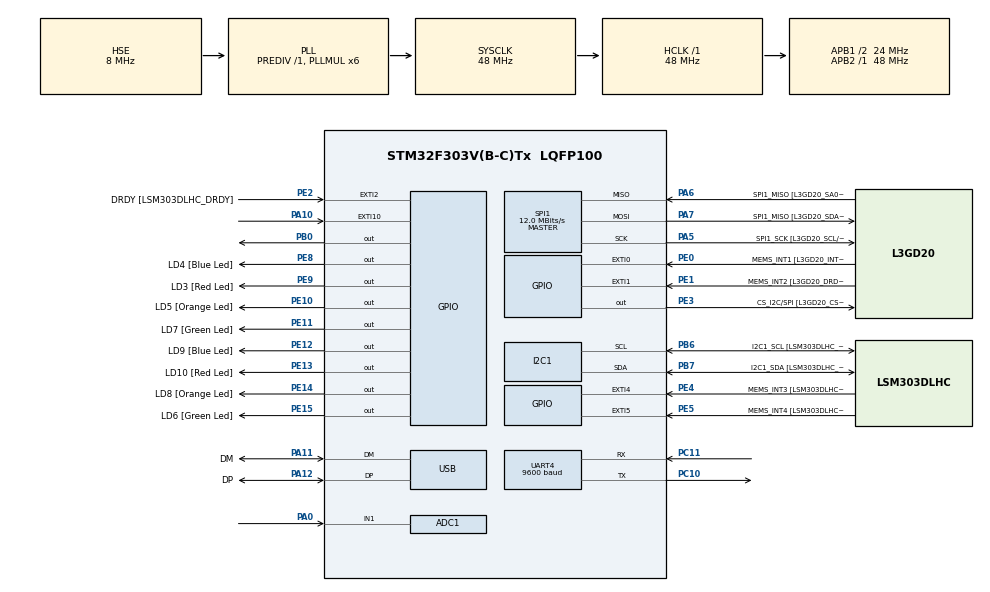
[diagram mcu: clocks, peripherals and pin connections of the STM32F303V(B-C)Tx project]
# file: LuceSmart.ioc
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ADC1.Channel-0\#ChannelRegularConversion=ADC_CHANNEL_1
ADC1.ExternalTrigConv=ADC_EXTERNALTRIGCONV_T4_TRGO
ADC1.NbrOfConversionFlag=1
ADC1.Offset-0\#ChannelRegularConversion=0
ADC1.OffsetNumber-0\#ChannelRegularConversion=ADC_OFFSET_NONE
ADC1.Rank-0\#ChannelRegularConversion=1
ADC1.SamplingTime-0\#ChannelRegularConversion=ADC_SAMPLETIME_1CYCLE_5
ADC1.SamplingTimeOPAMP-0\#ChannelRegularConversion=ADC_SAMPLETIME_19CYCLES_5
ADC1.master=1
I2C1.Timing-I2C=0x2000090E
Mcu.Family=STM32F3
Mcu.Name=STM32F303V(B-C)Tx
Mcu.Package=LQFP100
NVIC.ADC1_2_IRQn=true\:0\:0\:false\:false\:true\:true\:true\:true
NVIC.EXTI15_10_IRQn=true\:1\:0\:true\:false\:true\:true\:true\:true
NVIC.PriorityGroup=NVIC_PRIORITYGROUP_1
NVIC.TIM3_IRQn=true\:0\:0\:false\:false\:true\:true\:true\:true
NVIC.TIM4_IRQn=true\:0\:0\:false\:false\:true\:true\:true\:true
NVIC.UART4_IRQn=true\:0\:0\:false\:false\:true\:true\:true\:true
PA0.Mode=IN1-Single-Ended
PA0.Signal=ADC1_IN1
PA10.GPIO_ModeDefaultEXTI=GPIO_MODE_IT_FALLING
PA10.Signal=GPXTI10
PA11.GPIO_Label=DM
PA11.Mode=Device
PA11.Signal=USB_DM
PA12.GPIO_Label=DP
PA12.Mode=Device
PA12.Signal=USB_DP
PA13.GPIO_Label=SWDIO
PA13.Mode=Serial_Wire
PA13.Signal=SYS_JTMS-SWDIO
PA14.GPIO_Label=SWCLK
PA14.Mode=Serial_Wire
PA14.Signal=SYS_JTCK-SWCLK
PA5.GPIO_Label=SPI1_SCK [L3GD20_SCL/SPC]
PA5.Mode=Full_Duplex_Master
PA5.Signal=SPI1_SCK
PA6.GPIO_Label=SPI1_MISO [L3GD20_SA0/SDO]
PA6.Mode=Full_Duplex_Master
PA6.Signal=SPI1_MISO
PA7.GPIO_Label=SPI1_MISO [L3GD20_SDA/SDI/SDO]
PA7.Mode=Full_Duplex_Master
PA7.Signal=SPI1_MOSI
PB0.Signal=GPIO_Output
PB3.GPIO_Label=SWO
PB3.Signal=SYS_JTDO-TRACESWO
PB6.GPIO_Label=I2C1_SCL [LSM303DLHC_SCL]
PB6.GPIO_Pu=GPIO_PULLUP
PB6.Mode=I2C
PB6.Signal=I2C1_SCL
PB7.GPIO_Label=I2C1_SDA [LSM303DLHC_SDA]
PB7.GPIO_Pu=GPIO_PULLUP
PB7.Mode=I2C
PB7.Signal=I2C1_SDA
PC10.Mode=Asynchronous
PC10.Signal=UART4_TX
PC11.Mode=Asynchronous
PC11.Signal=UART4_RX
PC14-OSC32_IN.GPIO_Label=OSC32_IN
PC14-OSC32_IN.Signal=RCC_OSC32_IN
PC15-OSC32_OUT.GPIO_Label=OSC32_OUT
PC15-OSC32_OUT.Signal=RCC_OSC32_OUT
PE0.GPIO_Label=MEMS_INT1 [L3GD20_INT1]
PE0.GPIO_ModeDefaultEXTI=GPIO_MODE_EVT_RISING
PE0.Signal=GPXTI0
PE1.GPIO_Label=MEMS_INT2 [L3GD20_DRDY/INT2]
PE1.GPIO_ModeDefaultEXTI=GPIO_MODE_EVT_RISING
PE1.Signal=GPXTI1
PE10.GPIO_Label=LD5 [Orange Led]
PE10.Signal=GPIO_Output
PE11.GPIO_Label=LD7 [Green Led]
PE11.Signal=GPIO_Output
PE12.GPIO_Label=LD9 [Blue Led]
PE12.Signal=GPIO_Output
PE13.GPIO_Label=LD10 [Red Led]
PE13.Signal=GPIO_Output
PE14.GPIO_Label=LD8 [Orange Led]
PE14.Signal=GPIO_Output
PE15.GPIO_Label=LD6 [Green Led]
PE15.Signal=GPIO_Output
PE2.GPIO_Label=DRDY [LSM303DLHC_DRDY]
PE2.GPIO_ModeDefaultEXTI=GPIO_MODE_EVT_RISING
PE2.Signal=GPXTI2
PE3.GPIO_Label=CS_I2C/SPI [L3GD20_CS_I2C/SPI]
PE3.Signal=GPIO_Output
PE4.GPIO_Label=MEMS_INT3 [LSM303DLHC_INT1]
PE4.GPIO_ModeDefaultEXTI=GPIO_MODE_EVT_RISING
PE4.Signal=GPXTI4
PE5.GPIO_Label=MEMS_INT4 [LSM303DLHC_INT2]
PE5.GPIO_ModeDefaultEXTI=GPIO_MODE_EVT_RISING
PE5.Signal=GPXTI5
PE8.GPIO_Label=LD4 [Blue Led]
PE8.Signal=GPIO_Output
PE9.GPIO_Label=LD3 [Red Led]
PE9.Signal=GPIO_Output
PF0-OSC_IN.GPIO_Label=OSC_IN
PF0-OSC_IN.Mode=HSE-External-Clock-Source
PF0-OSC_IN.Signal=RCC_OSC_IN
PF1-OSC_OUT.GPIO_Label=OSC_OUT
PF1-OSC_OUT.Signal=RCC_OSC_OUT
ProjectManager.HeapSize=0x200
ProjectManager.StackSize=0x400
ProjectManager.TargetToolchain=STM32CubeIDE
RCC.AHBFreq_Value=48000000
RCC.APB1CLKDivider=RCC_HCLK_DIV2
RCC.APB1Freq_Value=24000000
RCC.APB1TimFreq_Value=48000000
RCC.APB2Freq_Value=48000000
RCC.APB2TimFreq_Value=48000000
RCC.CortexFreq_Value=48000000
RCC.HCLKFreq_Value=48000000
RCC.HSE_VALUE=8000000
RCC.HSI_VALUE=8000000
RCC.LSE_VALUE=32768
RCC.PLLMUL=RCC_PLL_MUL6
RCC.SYSCLKFreq_VALUE=48000000
RCC.SYSCLKSourceVirtual=RCC_SYSCLKSOURCE_PLLCLK
RCC.USBFreq_Value=48000000
SPI1.BaudRatePrescaler=SPI_BAUDRATEPRESCALER_4
SPI1.BaudRatePrescaler-Full_Duplex_Master=SPI_BAUDRATEPRESCALER_2
SPI1.CalculateBaudRate=12.0 MBits/s
SPI1.CalculateBaudRate-Full_Duplex_Master=24.0 MBits/s
SPI1.Direction=SPI_DIRECTION_2LINES
SPI1.Mode=SPI_MODE_MASTER
SPI1.Mode-Full_Duplex_Master=SPI_MODE_MASTER
SPI1.VirtualType=VM_MASTER
TIM2.Prescaler=47
TIM3.CounterMode=TIM_COUNTERMODE_UP
TIM3.Period=1000
TIM3.Prescaler=48000-1
TIM3.TIM_MasterOutputTrigger=TIM_TRGO_RESET
TIM4.Period=2000
TIM4.Prescaler=48000-1
TIM4.TIM_MasterOutputTrigger=TIM_TRGO_UPDATE
UART4.BaudRate=9600
UART4.Mode=MODE_RX
UART4.WordLength=WORDLENGTH_8B
VP_TIM2_VS_ClockSourceINT.Mode=Internal
VP_TIM3_VS_ClockSourceINT.Mode=Internal
VP_TIM4_VS_ClockSourceINT.Mode=Internal
board=STM32F3DISCOVERY

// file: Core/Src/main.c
/* USER CODE BEGIN Header */
/**
  **************************
  * @file           : main.c
  * @brief          : Main program body
  **************************
  * @attention
  *
  * Copyright (c) 2022 STMicroelectronics.
  * All rights reserved.
  *
  * This software is licensed under terms that can be found in the LICENSE file
  * in the root directory of this software component.
  * If no LICENSE file comes with this software, it is provided AS-IS.
  *
  **************************
  */
/* USER CODE END Header */
#include "main.h"

/* USER CODE BEGIN PD */
#define BUFFER_LEN 1
uint8_t RX_BUFFER[BUFFER_LEN] = {0};
/* USER CODE END PD */

 ADC_HandleTypeDef hadc1;

I2C_HandleTypeDef hi2c1;

SPI_HandleTypeDef hspi1;

TIM_HandleTypeDef htim2;
TIM_HandleTypeDef htim3;
TIM_HandleTypeDef htim4;

UART_HandleTypeDef huart4;

PCD_HandleTypeDef hpcd_USB_FS;

void SystemClock_Config(void);
static void MX_GPIO_Init(void);
static void MX_I2C1_Init(void);
static void MX_SPI1_Init(void);
static void MX_USB_PCD_Init(void);
static void MX_TIM2_Init(void);
static void MX_TIM3_Init(void);
static void MX_ADC1_Init(void);
static void MX_TIM4_Init(void);
static void MX_UART4_Init(void);

/* USER CODE BEGIN 0 */
void delay_us(uint16_t us){
	__HAL_TIM_SET_COUNTER(&htim2,0);
	while(__HAL_TIM_GET_COUNTER(&htim2)<=us);
}

int stato = 0;
int config = 0;
int countdown = 0;

void spegni_luce(){
	HAL_GPIO_WritePin(GPIOB, GPIO_PIN_0, GPIO_PIN_RESET);
}

void accendi_luce(){
	HAL_GPIO_WritePin(GPIOB, GPIO_PIN_0, GPIO_PIN_SET);
}

void toggle_luce(){
	HAL_GPIO_TogglePin(GPIOB, GPIO_PIN_0);
}

void gestisci_tasto(int tasto){
	if(stato == 0){
		if(tasto == 0){
			toggle_luce();
		}
		else if(tasto == 1){
			HAL_GPIO_WritePin(GPIOE,GPIO_PIN_10,GPIO_PIN_RESET);
			HAL_GPIO_WritePin(GPIOE,GPIO_PIN_11,GPIO_PIN_SET);

			spegni_luce();
			HAL_TIM_Base_Start_IT(&htim4);
			stato = 1;
		}
	}
	else if(stato == 1){
		if(tasto == 1){
			HAL_GPIO_WritePin(GPIOE,GPIO_PIN_11,GPIO_PIN_RESET);
			HAL_GPIO_WritePin(GPIOE,GPIO_PIN_12,GPIO_PIN_SET);

			HAL_TIM_Base_Stop_IT(&htim4);
			spegni_luce();
			config = 1;
			countdown = 0;
			stato = 2;
		}
	}
	else if(stato == 2){
		if(tasto == 1){
			HAL_GPIO_WritePin(GPIOE,GPIO_PIN_12,GPIO_PIN_RESET);
			HAL_GPIO_WritePin(GPIOE,GPIO_PIN_10,GPIO_PIN_SET);

			spegni_luce();
			HAL_TIM_Base_Stop_IT(&htim3);
			stato = 0;
		}
		else if(config == 1){ // deve essere configurato il timer
			if(tasto == 9){
				config = 0;
				countdown--;
				accendi_luce();
				__HAL_TIM_SET_COUNTER(&htim3,0);
				HAL_TIM_Base_Start_IT(&htim3);
			}
			else if(tasto >= 11 && tasto <= 20){ //pressione di un numero
				tasto = tasto - 11;
				countdown = countdown*10 + tasto;
			}
		}
	}
}

uint32_t receive_data_ir (void){
	  uint32_t code=0;
	  while (HAL_GPIO_ReadPin (GPIOA, GPIO_PIN_10));
	  while (!(HAL_GPIO_ReadPin (GPIOA, GPIO_PIN_10)));
	  while (HAL_GPIO_ReadPin (GPIOA, GPIO_PIN_10));

	  for (int i=0; i<32; i++){
		  uint8_t count=0;
		  while (!(HAL_GPIO_ReadPin (GPIOA, GPIO_PIN_10)));
		  while ((HAL_GPIO_ReadPin (GPIOA, GPIO_PIN_10))){
			  count++;
			  delay_us(100);
		  }
		  if (count > 12) code |= (1UL << (31-i));
		  else code &= ~(1UL << (31-i));
	  }
	  HAL_Delay(200);
	  return code;
}

int convert_data_ir(uint32_t data){
	switch(data) {
		case 0xFFA25D: return 0; break; // power
		case 0xFFE21D: return 1; break; //func/stop
		case 0xFF629D: return 2; break; //vol+
		case 0xFF22DD: return 3; break; //fast back
		case 0xFF02FD: return 4; break; //pause
		case 0xFFC23D: return 5; break; //fast forward
		case 0xFFE01F: return 6; break; //down
		case 0xFFA857: return 7; break; //vol-
		case 0xFF906F: return 8; break; //up
		case 0xFF9867: return 9; break; // eq
		case 0xFFB04F: return 10; break; //st/rept
		case 0xFF6897: return 11; break; //0
		case 0xFF30CF: return 12; break; //1
		case 0xFF18E7: return 13; break; //2
		case 0xFF7A85: return 14; break; //3
		case 0xFF10EF: return 15; break; // 4
		case 0xFF38C7: return 16; break; //5
		case 0xFF5AA5: return 17; break; //6
		case 0xFF42BD: return 18; break; //7
		case 0xFF4AB5: return 19; break; // 8
		case 0xFF52AD: return 20; break; //9
		case 0xFFFFFFFF: return 21;break; //repeat
		default:  return -1; //err
	}
}

void HAL_GPIO_EXTI_Callback(uint16_t GPIO_Pin){
	if(GPIO_Pin == GPIO_PIN_10){
		uint32_t data = receive_data_ir();
		int tasto_premuto = convert_data_ir(data);
		gestisci_tasto(tasto_premuto);
	}
}

uint8_t recive_data_bt(){
	HAL_UART_Receive_IT(&huart4, RX_BUFFER, BUFFER_LEN);
	return RX_BUFFER[0];
}

int convert_data_bt(uint8_t data){
	switch(data) {
		case 0x00: return 0; break; // power
		case 0x01: return 1; break; //func/stop
		case 0x02: return 2; break; //vol+
		case 0x03: return 3; break; //fast back
		case 0x04: return 4; break; //pause
		case 0x05: return 5; break; //fast forward
		case 0x06: return 6; break; //down
		case 0x07: return 7; break; //vol-
		case 0x08: return 8; break; //up
		case 0x09: return 9; break; // eq
		case 0x0A: return 10; break; //st/rept
		case 0x0B: return 11; break; //0
		case 0x0C: return 12; break; //1
		case 0x0D: return 13; break; //2
		case 0x0E: return 14; break; //3
		case 0x0F: return 15; break; // 4
		case 0x10: return 16; break; //5
		case 0x11: return 17; break; //6
		case 0x12: return 18; break; //7
		case 0x13: return 19; break; // 8
		case 0x14: return 20; break; //9
		case 0xFF: return 21;break; //repeat
		default:  return -1; //err
	}
}

void HAL_ADC_ConvCpltCallback(ADC_HandleTypeDef* hadc) {
  if(stato == 1){
	  uint16_t adc_val = HAL_ADC_GetValue(&hadc1);
	  if(adc_val >= 2000) accendi_luce();
  	  else spegni_luce();
  }
}

void HAL_UART_RxCpltCallback(UART_HandleTypeDef* huart){
	if(huart->Instance == huart4.Instance){
		uint8_t data = recive_data_bt();
		int tasto_premuto = convert_data_bt(data);
		gestisci_tasto(tasto_premuto);
	}
}

void HAL_TIM_PeriodElapsedCallback(TIM_HandleTypeDef *htim){
	if(htim == &htim3){
		if(countdown == 0){
			if(stato == 2){
				spegni_luce();
				config = 1;
			}
			HAL_TIM_Base_Stop_IT(&htim3);
		}
		else
			countdown--;
	}
}

/* USER CODE END 0 */

int main(void)
{

  /* MCU Configuration--------------------------------------------------------*/

  /* Reset of all peripherals, Initializes the Flash interface and the Systick. */
  HAL_Init();

  /* Configure the system clock */
  SystemClock_Config();

  /* Initialize all configured peripherals */
  MX_GPIO_Init();
  MX_I2C1_Init();
  MX_SPI1_Init();
  MX_USB_PCD_Init();
  MX_TIM2_Init();
  MX_TIM3_Init();
  MX_ADC1_Init();
  MX_TIM4_Init();
  MX_UART4_Init();
  /* USER CODE BEGIN 2 */
  HAL_TIM_Base_Init(&htim2);
  HAL_TIM_Base_Start(&htim2);

  HAL_ADCEx_Calibration_Start(&hadc1, 0);
  HAL_ADC_Start_IT (&hadc1);

  HAL_UART_Receive_IT(&huart4, RX_BUFFER, BUFFER_LEN);
  HAL_GPIO_WritePin(GPIOE, GPIO_PIN_10, GPIO_PIN_SET);

  /* USER CODE END 2 */

  /* Infinite loop */
  while (1)
  {

  }
}

void SystemClock_Config(void)
{
  RCC_OscInitTypeDef RCC_OscInitStruct = {0};
  RCC_ClkInitTypeDef RCC_ClkInitStruct = {0};
  RCC_PeriphCLKInitTypeDef PeriphClkInit = {0};

  /** Initializes the RCC Oscillators according to the specified parameters
  * in the RCC_OscInitTypeDef structure.
  */
  RCC_OscInitStruct.OscillatorType = RCC_OSCILLATORTYPE_HSI|RCC_OSCILLATORTYPE_HSE;
  RCC_OscInitStruct.HSEState = RCC_HSE_BYPASS;
  RCC_OscInitStruct.HSEPredivValue = RCC_HSE_PREDIV_DIV1;
  RCC_OscInitStruct.HSIState = RCC_HSI_ON;
  RCC_OscInitStruct.HSICalibrationValue = RCC_HSICALIBRATION_DEFAULT;
  RCC_OscInitStruct.PLL.PLLState = RCC_PLL_ON;
  RCC_OscInitStruct.PLL.PLLSource = RCC_PLLSOURCE_HSE;
  RCC_OscInitStruct.PLL.PLLMUL = RCC_PLL_MUL6;
  if (HAL_RCC_OscConfig(&RCC_OscInitStruct) != HAL_OK)
  {
    Error_Handler();
  }

  /** Initializes the CPU, AHB and APB buses clocks
  */
  RCC_ClkInitStruct.ClockType = RCC_CLOCKTYPE_HCLK|RCC_CLOCKTYPE_SYSCLK
                              |RCC_CLOCKTYPE_PCLK1|RCC_CLOCKTYPE_PCLK2;
  RCC_ClkInitStruct.SYSCLKSource = RCC_SYSCLKSOURCE_PLLCLK;
  RCC_ClkInitStruct.AHBCLKDivider = RCC_SYSCLK_DIV1;
  RCC_ClkInitStruct.APB1CLKDivider = RCC_HCLK_DIV2;
  RCC_ClkInitStruct.APB2CLKDivider = RCC_HCLK_DIV1;

  if (HAL_RCC_ClockConfig(&RCC_ClkInitStruct, FLASH_LATENCY_1) != HAL_OK)
  {
    Error_Handler();
  }
  PeriphClkInit.PeriphClockSelection = RCC_PERIPHCLK_USB|RCC_PERIPHCLK_UART4
                              |RCC_PERIPHCLK_I2C1|RCC_PERIPHCLK_ADC12;
  PeriphClkInit.Uart4ClockSelection = RCC_UART4CLKSOURCE_PCLK1;
  PeriphClkInit.Adc12ClockSelection = RCC_ADC12PLLCLK_DIV1;
  PeriphClkInit.I2c1ClockSelection = RCC_I2C1CLKSOURCE_HSI;
  PeriphClkInit.USBClockSelection = RCC_USBCLKSOURCE_PLL;
  if (HAL_RCCEx_PeriphCLKConfig(&PeriphClkInit) != HAL_OK)
  {
    Error_Handler();
  }
}

static void MX_ADC1_Init(void)
{

  ADC_MultiModeTypeDef multimode = {0};
  ADC_ChannelConfTypeDef sConfig = {0};

  /** Common config
  */
  hadc1.Instance = ADC1;
  hadc1.Init.ClockPrescaler = ADC_CLOCK_ASYNC_DIV1;
  hadc1.Init.Resolution = ADC_RESOLUTION_12B;
  hadc1.Init.ScanConvMode = ADC_SCAN_DISABLE;
  hadc1.Init.ContinuousConvMode = DISABLE;
  hadc1.Init.DiscontinuousConvMode = DISABLE;
  hadc1.Init.ExternalTrigConvEdge = ADC_EXTERNALTRIGCONVEDGE_RISING;
  hadc1.Init.ExternalTrigConv = ADC_EXTERNALTRIGCONV_T4_TRGO;
  hadc1.Init.DataAlign = ADC_DATAALIGN_RIGHT;
  hadc1.Init.NbrOfConversion = 1;
  hadc1.Init.DMAContinuousRequests = DISABLE;
  hadc1.Init.EOCSelection = ADC_EOC_SINGLE_CONV;
  hadc1.Init.LowPowerAutoWait = DISABLE;
  hadc1.Init.Overrun = ADC_OVR_DATA_OVERWRITTEN;
  if (HAL_ADC_Init(&hadc1) != HAL_OK)
  {
    Error_Handler();
  }

  /** Configure the ADC multi-mode
  */
  multimode.Mode = ADC_MODE_INDEPENDENT;
  if (HAL_ADCEx_MultiModeConfigChannel(&hadc1, &multimode) != HAL_OK)
  {
    Error_Handler();
  }

  /** Configure Regular Channel
  */
  sConfig.Channel = ADC_CHANNEL_1;
  sConfig.Rank = ADC_REGULAR_RANK_1;
  sConfig.SingleDiff = ADC_SINGLE_ENDED;
  sConfig.SamplingTime = ADC_SAMPLETIME_1CYCLE_5;
  sConfig.OffsetNumber = ADC_OFFSET_NONE;
  sConfig.Offset = 0;
  if (HAL_ADC_ConfigChannel(&hadc1, &sConfig) != HAL_OK)
  {
    Error_Handler();
  }

}

static void MX_I2C1_Init(void)
{

  hi2c1.Instance = I2C1;
  hi2c1.Init.Timing = 0x2000090E;
  hi2c1.Init.OwnAddress1 = 0;
  hi2c1.Init.AddressingMode = I2C_ADDRESSINGMODE_7BIT;
  hi2c1.Init.DualAddressMode = I2C_DUALADDRESS_DISABLE;
  hi2c1.Init.OwnAddress2 = 0;
  hi2c1.Init.OwnAddress2Masks = I2C_OA2_NOMASK;
  hi2c1.Init.GeneralCallMode = I2C_GENERALCALL_DISABLE;
  hi2c1.Init.NoStretchMode = I2C_NOSTRETCH_DISABLE;
  if (HAL_I2C_Init(&hi2c1) != HAL_OK)
  {
    Error_Handler();
  }

  /** Configure Analogue filter
  */
  if (HAL_I2CEx_ConfigAnalogFilter(&hi2c1, I2C_ANALOGFILTER_ENABLE) != HAL_OK)
  {
    Error_Handler();
  }

  /** Configure Digital filter
  */
  if (HAL_I2CEx_ConfigDigitalFilter(&hi2c1, 0) != HAL_OK)
  {
    Error_Handler();
  }

}

static void MX_SPI1_Init(void)
{

  /* SPI1 parameter configuration*/
  hspi1.Instance = SPI1;
  hspi1.Init.Mode = SPI_MODE_MASTER;
  hspi1.Init.Direction = SPI_DIRECTION_2LINES;
  hspi1.Init.DataSize = SPI_DATASIZE_4BIT;
  hspi1.Init.CLKPolarity = SPI_POLARITY_LOW;
  hspi1.Init.CLKPhase = SPI_PHASE_1EDGE;
  hspi1.Init.NSS = SPI_NSS_SOFT;
  hspi1.Init.BaudRatePrescaler = SPI_BAUDRATEPRESCALER_4;
  hspi1.Init.FirstBit = SPI_FIRSTBIT_MSB;
  hspi1.Init.TIMode = SPI_TIMODE_DISABLE;
  hspi1.Init.CRCCalculation = SPI_CRCCALCULATION_DISABLE;
  hspi1.Init.CRCPolynomial = 7;
  hspi1.Init.CRCLength = SPI_CRC_LENGTH_DATASIZE;
  hspi1.Init.NSSPMode = SPI_NSS_PULSE_ENABLE;
  if (HAL_SPI_Init(&hspi1) != HAL_OK)
  {
    Error_Handler();
  }

}

static void MX_TIM2_Init(void)
{

  TIM_ClockConfigTypeDef sClockSourceConfig = {0};
  TIM_MasterConfigTypeDef sMasterConfig = {0};

  htim2.Instance = TIM2;
  htim2.Init.Prescaler = 47;
  htim2.Init.CounterMode = TIM_COUNTERMODE_UP;
  htim2.Init.Period = 4294967295;
  htim2.Init.ClockDivision = TIM_CLOCKDIVISION_DIV1;
  htim2.Init.AutoReloadPreload = TIM_AUTORELOAD_PRELOAD_DISABLE;
  if (HAL_TIM_Base_Init(&htim2) != HAL_OK)
  {
    Error_Handler();
  }
  sClockSourceConfig.ClockSource = TIM_CLOCKSOURCE_INTERNAL;
  if (HAL_TIM_ConfigClockSource(&htim2, &sClockSourceConfig) != HAL_OK)
  {
    Error_Handler();
  }
  sMasterConfig.MasterOutputTrigger = TIM_TRGO_RESET;
  sMasterConfig.MasterSlaveMode = TIM_MASTERSLAVEMODE_DISABLE;
  if (HAL_TIMEx_MasterConfigSynchronization(&htim2, &sMasterConfig) != HAL_OK)
  {
    Error_Handler();
  }

}

static void MX_TIM3_Init(void)
{

  TIM_ClockConfigTypeDef sClockSourceConfig = {0};
  TIM_MasterConfigTypeDef sMasterConfig = {0};

  htim3.Instance = TIM3;
  htim3.Init.Prescaler = 48000-1;
  htim3.Init.CounterMode = TIM_COUNTERMODE_UP;
  htim3.Init.Period = 1000;
  htim3.Init.ClockDivision = TIM_CLOCKDIVISION_DIV1;
  htim3.Init.AutoReloadPreload = TIM_AUTORELOAD_PRELOAD_DISABLE;
  if (HAL_TIM_Base_Init(&htim3) != HAL_OK)
  {
    Error_Handler();
  }
  sClockSourceConfig.ClockSource = TIM_CLOCKSOURCE_INTERNAL;
  if (HAL_TIM_ConfigClockSource(&htim3, &sClockSourceConfig) != HAL_OK)
  {
    Error_Handler();
  }
  sMasterConfig.MasterOutputTrigger = TIM_TRGO_RESET;
  sMasterConfig.MasterSlaveMode = TIM_MASTERSLAVEMODE_DISABLE;
  if (HAL_TIMEx_MasterConfigSynchronization(&htim3, &sMasterConfig) != HAL_OK)
  {
    Error_Handler();
  }

}

static void MX_TIM4_Init(void)
{

  TIM_ClockConfigTypeDef sClockSourceConfig = {0};
  TIM_MasterConfigTypeDef sMasterConfig = {0};

  htim4.Instance = TIM4;
  htim4.Init.Prescaler = 48000-1;
  htim4.Init.CounterMode = TIM_COUNTERMODE_UP;
  htim4.Init.Period = 2000;
  htim4.Init.ClockDivision = TIM_CLOCKDIVISION_DIV1;
  htim4.Init.AutoReloadPreload = TIM_AUTORELOAD_PRELOAD_DISABLE;
  if (HAL_TIM_Base_Init(&htim4) != HAL_OK)
  {
    Error_Handler();
  }
  sClockSourceConfig.ClockSource = TIM_CLOCKSOURCE_INTERNAL;
  if (HAL_TIM_ConfigClockSource(&htim4, &sClockSourceConfig) != HAL_OK)
  {
    Error_Handler();
  }
  sMasterConfig.MasterOutputTrigger = TIM_TRGO_UPDATE;
  sMasterConfig.MasterSlaveMode = TIM_MASTERSLAVEMODE_DISABLE;
  if (HAL_TIMEx_MasterConfigSynchronization(&htim4, &sMasterConfig) != HAL_OK)
  {
    Error_Handler();
  }

}

static void MX_UART4_Init(void)
{

  huart4.Instance = UART4;
  huart4.Init.BaudRate = 9600;
  huart4.Init.WordLength = UART_WORDLENGTH_8B;
  huart4.Init.StopBits = UART_STOPBITS_1;
  huart4.Init.Parity = UART_PARITY_NONE;
  huart4.Init.Mode = UART_MODE_RX;
  huart4.Init.HwFlowCtl = UART_HWCONTROL_NONE;
  huart4.Init.OverSampling = UART_OVERSAMPLING_16;
  huart4.Init.OneBitSampling = UART_ONE_BIT_SAMPLE_DISABLE;
  huart4.AdvancedInit.AdvFeatureInit = UART_ADVFEATURE_NO_INIT;
  if (HAL_UART_Init(&huart4) != HAL_OK)
  {
    Error_Handler();
  }

}

static void MX_USB_PCD_Init(void)
{

  hpcd_USB_FS.Instance = USB;
  hpcd_USB_FS.Init.dev_endpoints = 8;
  hpcd_USB_FS.Init.speed = PCD_SPEED_FULL;
  hpcd_USB_FS.Init.phy_itface = PCD_PHY_EMBEDDED;
  hpcd_USB_FS.Init.low_power_enable = DISABLE;
  hpcd_USB_FS.Init.battery_charging_enable = DISABLE;
  if (HAL_PCD_Init(&hpcd_USB_FS) != HAL_OK)
  {
    Error_Handler();
  }

}

static void MX_GPIO_Init(void)
{
  GPIO_InitTypeDef GPIO_InitStruct = {0};

  /* GPIO Ports Clock Enable */
  __HAL_RCC_GPIOE_CLK_ENABLE();
  __HAL_RCC_GPIOC_CLK_ENABLE();
  __HAL_RCC_GPIOF_CLK_ENABLE();
  __HAL_RCC_GPIOA_CLK_ENABLE();
  __HAL_RCC_GPIOB_CLK_ENABLE();

  /*Configure GPIO pin Output Level */
  HAL_GPIO_WritePin(GPIOE, CS_I2C_SPI_Pin|LD4_Pin|LD3_Pin|LD5_Pin
                          |LD7_Pin|LD9_Pin|LD10_Pin|LD8_Pin
                          |LD6_Pin, GPIO_PIN_RESET);

  /*Configure GPIO pin Output Level */
  HAL_GPIO_WritePin(GPIOB, GPIO_PIN_0, GPIO_PIN_RESET);

  /*Configure GPIO pins : DRDY_Pin MEMS_INT3_Pin MEMS_INT4_Pin MEMS_INT1_Pin
                           MEMS_INT2_Pin */
  GPIO_InitStruct.Pin = DRDY_Pin|MEMS_INT3_Pin|MEMS_INT4_Pin|MEMS_INT1_Pin
                          |MEMS_INT2_Pin;
  GPIO_InitStruct.Mode = GPIO_MODE_EVT_RISING;
  GPIO_InitStruct.Pull = GPIO_NOPULL;
  HAL_GPIO_Init(GPIOE, &GPIO_InitStruct);

  /*Configure GPIO pins : CS_I2C_SPI_Pin LD4_Pin LD3_Pin LD5_Pin
                           LD7_Pin LD9_Pin LD10_Pin LD8_Pin
                           LD6_Pin */
  GPIO_InitStruct.Pin = CS_I2C_SPI_Pin|LD4_Pin|LD3_Pin|LD5_Pin
                          |LD7_Pin|LD9_Pin|LD10_Pin|LD8_Pin
                          |LD6_Pin;
  GPIO_InitStruct.Mode = GPIO_MODE_OUTPUT_PP;
  GPIO_InitStruct.Pull = GPIO_NOPULL;
  GPIO_InitStruct.Speed = GPIO_SPEED_FREQ_LOW;
  HAL_GPIO_Init(GPIOE, &GPIO_InitStruct);

  /*Configure GPIO pin : PB0 */
  GPIO_InitStruct.Pin = GPIO_PIN_0;
  GPIO_InitStruct.Mode = GPIO_MODE_OUTPUT_PP;
  GPIO_InitStruct.Pull = GPIO_NOPULL;
  GPIO_InitStruct.Speed = GPIO_SPEED_FREQ_LOW;
  HAL_GPIO_Init(GPIOB, &GPIO_InitStruct);

  /*Configure GPIO pin : PA10 */
  GPIO_InitStruct.Pin = GPIO_PIN_10;
  GPIO_InitStruct.Mode = GPIO_MODE_IT_FALLING;
  GPIO_InitStruct.Pull = GPIO_NOPULL;
  HAL_GPIO_Init(GPIOA, &GPIO_InitStruct);

  /* EXTI interrupt init*/
  HAL_NVIC_SetPriority(EXTI15_10_IRQn, 1, 0);
  HAL_NVIC_EnableIRQ(EXTI15_10_IRQn);

}

void Error_Handler(void)
{
  __disable_irq();
  while (1)
  {
  }
}
